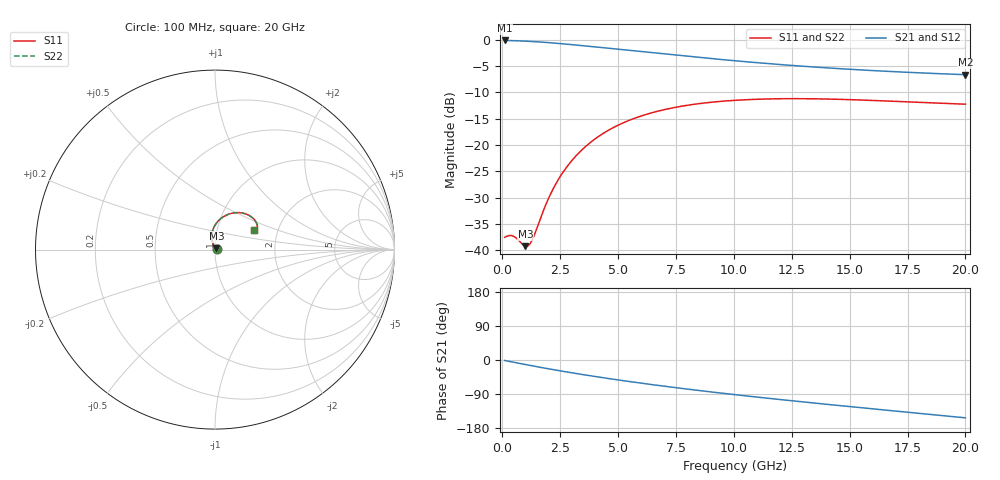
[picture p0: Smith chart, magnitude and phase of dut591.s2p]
! Touchstone file exported from HFSS 2024.1.0
!  File:  C:/UserFiles/LocalFiles/RDL_TSV_Batchsim/temp_RDL_TSV_591_1779759426.aedt
!  Generated:  09:56:06 AM May 26, 2026
!  Design:  RDL_TSV
!  Project:  temp_RDL_TSV_591_1779759426
!  Setup:  Setup1
!  Solution:  Sweep
! Variables:
!  dtsv = 5.23um
!  hbump = 3um
!  htsv = 93.78um
!  ldown = 308.37um
!  lrdl = 245.26um
!  p = 40
!  p1 = 40.01um
!  rhole = 10um
!  subl = 1906.15um
!  t = 450um
!  tdown = 2.29um
!  trdl = 3.54um
!  viad = 10um
!  wdown = 26.4um
!  wrdl = 19.31um
!  xbump = 18um
# GHz S MA R 50.000000
! Terminal data exported
! Port[1] = TM1_1_T1
! Port[2] = TM1_4_T1
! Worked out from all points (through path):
!   200 points, 100 MHz to 20 GHz, reference 50 ohm
!   highest |S21| = -0.12 dB at 100 MHz (marker M1); lowest = -6.6 dB at 20 GHz (marker M2)
!   group delay of S21, straight-line fit = 20.3 ps
!   lowest |S11| = -39.2 dB at 1 GHz (marker M3), VSWR 1.02, Z = 50.8 + j0.801 ohm
!   |S11| at or under -10 dB: start of sweep to end of sweep
!   |S22| runs from -39.2 to -11.2 dB; largest |S21 - S12| = 9.8e-15
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0.1  0.01324 5.0  0.9866 -1.3  0.9866 -1.3  0.01324 5.0
! Gamma 0 0 0 0
! Port Impedance 50 0 50 0
0.3  0.01378 11.9  0.9846 -3.7  0.9846 -3.7  0.01378 11.9
0.5  0.01352 16.8  0.9817 -6.1  0.9817 -6.1  0.01352 16.8
1  0.01091 46.3  0.9719 -12.0  0.9719 -12.0  0.01092 46.2
1.1  0.01096 56.8  0.9694 -13.2  0.9694 -13.2  0.01096 56.7
1.2  0.01151 67.7  0.9668 -14.3  0.9668 -14.3  0.01151 67.6
1.3  0.01261 77.8  0.964 -15.5  0.964 -15.5  0.0126 77.7
1.9  0.02774 106.3  0.9445 -22.2  0.9445 -22.2  0.02771 106.2
2.1  0.0347 108.3  0.937 -24.4  0.937 -24.4  0.03465 108.2
2.4  0.04611 108.7  0.9253 -27.6  0.9253 -27.6  0.04604 108.6
2.9  0.06672 105.9  0.9047 -32.8  0.9047 -32.8  0.06663 105.9
3.5  0.09256 100.5  0.879 -38.7  0.879 -38.7  0.09244 100.5
4.2  0.1224 93.3  0.8486 -45.4  0.8486 -45.4  0.1222 93.3
4.9  0.1504 86.2  0.8185 -51.7  0.8185 -51.7  0.1502 86.2
5.8  0.1824 77.5  0.781 -59.5  0.781 -59.5  0.1822 77.5
6.8  0.2119 68.8  0.7414 -67.6  0.7414 -67.6  0.2116 68.8
8.3  0.2441 57.6  0.6871 -79.1  0.6871 -79.1  0.2438 57.6
10.1  0.2665 46.8  0.6309 -91.9  0.6309 -91.9  0.2661 46.8
11.7  0.2748 39.3  0.5893 -102.4  0.5893 -102.4  0.2744 39.3
13.4  0.2751 33.2  0.5528 -113.2  0.5528 -113.2  0.2747 33.2
16.7  0.2615 26.3  0.5008 -133.1  0.5008 -133.1  0.2611 26.3
20  0.2445 25.8  0.4663 -152.6  0.4663 -152.6  0.2441 25.9
